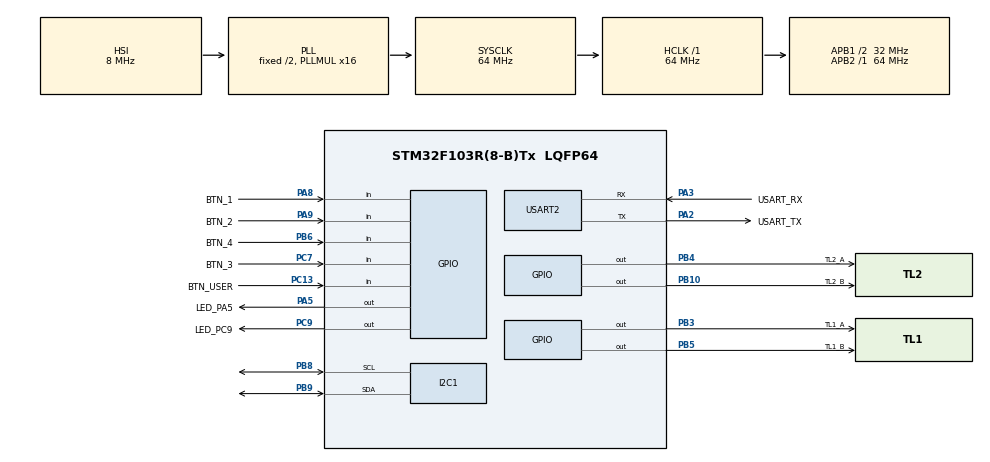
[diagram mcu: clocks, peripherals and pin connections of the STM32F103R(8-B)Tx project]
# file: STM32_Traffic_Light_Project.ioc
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Mcu.Family=STM32F1
Mcu.Name=STM32F103R(8-B)Tx
Mcu.Package=LQFP64
NVIC.PriorityGroup=NVIC_PRIORITYGROUP_4
NVIC.TIM2_IRQn=true\:0\:0\:false\:false\:true\:true\:true\:true
PA13.GPIO_Label=TMS
PA13.Mode=Serial_Wire
PA13.Signal=SYS_JTMS-SWDIO
PA14.GPIO_Label=TCK
PA14.Mode=Serial_Wire
PA14.Signal=SYS_JTCK-SWCLK
PA2.GPIO_Label=USART_TX
PA2.GPIO_Mode=GPIO_MODE_AF_PP
PA2.GPIO_PuPd=GPIO_NOPULL
PA2.GPIO_Speed=GPIO_SPEED_FREQ_LOW
PA2.Mode=Asynchronous
PA2.Signal=USART2_TX
PA3.GPIO_Label=USART_RX
PA3.GPIO_Mode=GPIO_MODE_AF_PP
PA3.GPIO_PuPd=GPIO_NOPULL
PA3.GPIO_Speed=GPIO_SPEED_FREQ_LOW
PA3.Mode=Asynchronous
PA3.Signal=USART2_RX
PA5.GPIO_Label=LED_PA5
PA5.Signal=GPIO_Output
PA8.GPIO_Label=BTN_1
PA8.GPIO_PuPd=GPIO_PULLUP
PA8.Signal=GPIO_Input
PA9.GPIO_Label=BTN_2
PA9.GPIO_PuPd=GPIO_PULLUP
PA9.Signal=GPIO_Input
PB10.GPIO_Label=TL2_B
PB10.Signal=GPIO_Output
PB3.GPIO_Label=TL1_A
PB3.Signal=GPIO_Output
PB4.GPIO_Label=TL2_A
PB4.Signal=GPIO_Output
PB5.GPIO_Label=TL1_B
PB5.Signal=GPIO_Output
PB6.GPIO_Label=BTN_4
PB6.GPIO_PuPd=GPIO_PULLUP
PB6.Signal=GPIO_Input
PB8.Mode=I2C
PB8.Signal=I2C1_SCL
PB9.Mode=I2C
PB9.Signal=I2C1_SDA
PC13-TAMPER-RTC.GPIO_Label=BTN_USER
PC13-TAMPER-RTC.Signal=GPIO_Input
PC14-OSC32_IN.Mode=LSE-External-Oscillator
PC14-OSC32_IN.Signal=RCC_OSC32_IN
PC15-OSC32_OUT.Mode=LSE-External-Oscillator
PC15-OSC32_OUT.Signal=RCC_OSC32_OUT
PC7.GPIO_Label=BTN_3
PC7.GPIO_PuPd=GPIO_PULLUP
PC7.Signal=GPIO_Input
PC9.GPIO_Label=LED_PC9
PC9.Signal=GPIO_Output
PD0-OSC_IN.Mode=HSE-External-Clock-Source
PD0-OSC_IN.Signal=RCC_OSC_IN
PD1-OSC_OUT.Mode=HSE-External-Clock-Source
PD1-OSC_OUT.Signal=RCC_OSC_OUT
ProjectManager.HeapSize=0x200
ProjectManager.StackSize=0x400
ProjectManager.TargetToolchain=STM32CubeIDE
RCC.AHBFreq_Value=64000000
RCC.APB1CLKDivider=RCC_HCLK_DIV2
RCC.APB1Freq_Value=32000000
RCC.APB1TimFreq_Value=64000000
RCC.APB2Freq_Value=64000000
RCC.APB2TimFreq_Value=64000000
RCC.HCLKFreq_Value=64000000
RCC.PLLMUL=RCC_PLL_MUL16
RCC.RTCClockSelection=RCC_RTCCLKSOURCE_LSE
RCC.SYSCLKFreq_VALUE=64000000
RCC.SYSCLKSource=RCC_SYSCLKSOURCE_PLLCLK
RCC.USBFreq_Value=64000000
TIM2.Period=99
TIM2.Prescaler=6399
USART2.VirtualMode=VM_ASYNC
VP_TIM2_VS_ClockSourceINT.Mode=Internal
board=NUCLEO-F103RB

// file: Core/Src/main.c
/* USER CODE BEGIN Header */
/**
  ******************************************************************************
  * @file           : main.c
  * @brief          : Main program body
  ******************************************************************************
  * @attention
  *
  * Copyright (c) 2026 STMicroelectronics.
  * All rights reserved.
  *
  * This software is licensed under terms that can be found in the LICENSE file
  * in the root directory of this software component.
  * If no LICENSE file comes with this software, it is provided AS-IS.
  *
  ******************************************************************************
  */
/* USER CODE END Header */
#include "main.h"
#include "i2c.h"
#include "tim.h"
#include "usart.h"
#include "gpio.h"

/* USER CODE BEGIN Includes */
#include "scheduler.h"
#include "software_timer.h"
#include "button.h"
#include "global.h"
#include "traffic_light.h"
#include "dht20.h"
#include "lcd.h"
#include "fsm_automatic.h"
#include "fsm_manual.h"
#include "fsm_tuning.h"
/* USER CODE END Includes */

/* USER CODE BEGIN PD */
#define TASK_TICK_10MS          1
#define TASK_LCD_UPDATE_TICKS   25
#define TASK_BLINK_LED_TICKS    50
#define TASK_BOOT_ONESHOT_TICKS 150
#define TASK_DHT20_TICKS        200
/* USER CODE END PD */

void SystemClock_Config(void);
/* USER CODE BEGIN PFP */
__attribute__((weak)) void lcd_init(void) {}
__attribute__((weak)) void lcd_update_task(void) {}
__attribute__((weak)) void dht20_init(void) {}
__attribute__((weak)) void dht20_read(void) {}
__attribute__((weak)) void fsm_boot_complete_oneshot(void) {}
__attribute__((weak)) void fsm_automatic_run(void) {}
__attribute__((weak)) void fsm_manual_run(void) {}
__attribute__((weak)) void fsm_tuning_run(void) {}

static void Task_Heartbeat_LED(void);
static void Task_System_Boot_Oneshot(void);
static void Task_FSM_Run(void);
static void Task_Read_DHT20(void);
static void Task_Update_LCD(void);
/* USER CODE END PFP */

/* USER CODE BEGIN 0 */
static void Task_Heartbeat_LED(void)
{
  HAL_GPIO_TogglePin(LED_PA5_GPIO_Port, LED_PA5_Pin);
}

static void Task_System_Boot_Oneshot(void)
{
  HAL_GPIO_WritePin(LED_PC9_GPIO_Port, LED_PC9_Pin, GPIO_PIN_SET);
  fsm_boot_complete_oneshot();
}

static void Task_FSM_Run(void)
{
  fsm_automatic_run();
  fsm_manual_run();
  fsm_tuning_run();
}

static void Task_Read_DHT20(void)
{
  dht20_read();
}

static void Task_Update_LCD(void)
{
  lcd_update_task();
}
/* USER CODE END 0 */

int main(void)
{

  /* MCU Configuration--------------------------------------------------------*/

  /* Reset of all peripherals, Initializes the Flash interface and the Systick. */
  HAL_Init();

  /* Configure the system clock */
  SystemClock_Config();

  /* Initialize all configured peripherals */
  MX_GPIO_Init();
  MX_I2C1_Init();
  MX_TIM2_Init();
  MX_USART2_UART_Init();
  /* USER CODE BEGIN 2 */
  SCH_Init();
  clearAllButtons();

  lcd_init();
  dht20_init();

  SCH_Add_Task(button_reading, 0, TASK_TICK_10MS);
  SCH_Add_Task(timer_run, 0, TASK_TICK_10MS);
  SCH_Add_Task(Task_FSM_Run, 1, TASK_TICK_10MS);
  SCH_Add_Task(Task_System_Boot_Oneshot, TASK_BOOT_ONESHOT_TICKS, 0);
  SCH_Add_Task(Task_Read_DHT20, TASK_BOOT_ONESHOT_TICKS, TASK_DHT20_TICKS);
  SCH_Add_Task(Task_Update_LCD, 2, TASK_LCD_UPDATE_TICKS);
  SCH_Add_Task(Task_Heartbeat_LED, 0, TASK_BLINK_LED_TICKS);

  HAL_TIM_Base_Start_IT(&htim2);
  /* USER CODE END 2 */

  /* Infinite loop */
  /* USER CODE BEGIN WHILE */
  while (1)
  {
    SCH_Dispatch_Tasks();
    /* USER CODE END WHILE */

  }
}

void SystemClock_Config(void)
{
  RCC_OscInitTypeDef RCC_OscInitStruct = {0};
  RCC_ClkInitTypeDef RCC_ClkInitStruct = {0};

  /** Initializes the RCC Oscillators according to the specified parameters
  * in the RCC_OscInitTypeDef structure.
  */
  RCC_OscInitStruct.OscillatorType = RCC_OSCILLATORTYPE_HSI;
  RCC_OscInitStruct.HSIState = RCC_HSI_ON;
  RCC_OscInitStruct.HSICalibrationValue = RCC_HSICALIBRATION_DEFAULT;
  RCC_OscInitStruct.PLL.PLLState = RCC_PLL_ON;
  RCC_OscInitStruct.PLL.PLLSource = RCC_PLLSOURCE_HSI_DIV2;
  RCC_OscInitStruct.PLL.PLLMUL = RCC_PLL_MUL16;
  if (HAL_RCC_OscConfig(&RCC_OscInitStruct) != HAL_OK)
  {
    Error_Handler();
  }

  /** Initializes the CPU, AHB and APB buses clocks
  */
  RCC_ClkInitStruct.ClockType = RCC_CLOCKTYPE_HCLK|RCC_CLOCKTYPE_SYSCLK
                              |RCC_CLOCKTYPE_PCLK1|RCC_CLOCKTYPE_PCLK2;
  RCC_ClkInitStruct.SYSCLKSource = RCC_SYSCLKSOURCE_PLLCLK;
  RCC_ClkInitStruct.AHBCLKDivider = RCC_SYSCLK_DIV1;
  RCC_ClkInitStruct.APB1CLKDivider = RCC_HCLK_DIV2;
  RCC_ClkInitStruct.APB2CLKDivider = RCC_HCLK_DIV1;

  if (HAL_RCC_ClockConfig(&RCC_ClkInitStruct, FLASH_LATENCY_2) != HAL_OK)
  {
    Error_Handler();
  }
}

/* USER CODE BEGIN 4 */
void HAL_TIM_PeriodElapsedCallback(TIM_HandleTypeDef *htim)
{
  if (htim->Instance == TIM2)
  {
    SCH_Update();
  }
}
/* USER CODE END 4 */

void Error_Handler(void)
{
  __disable_irq();
  while (1)
  {
  }
}
